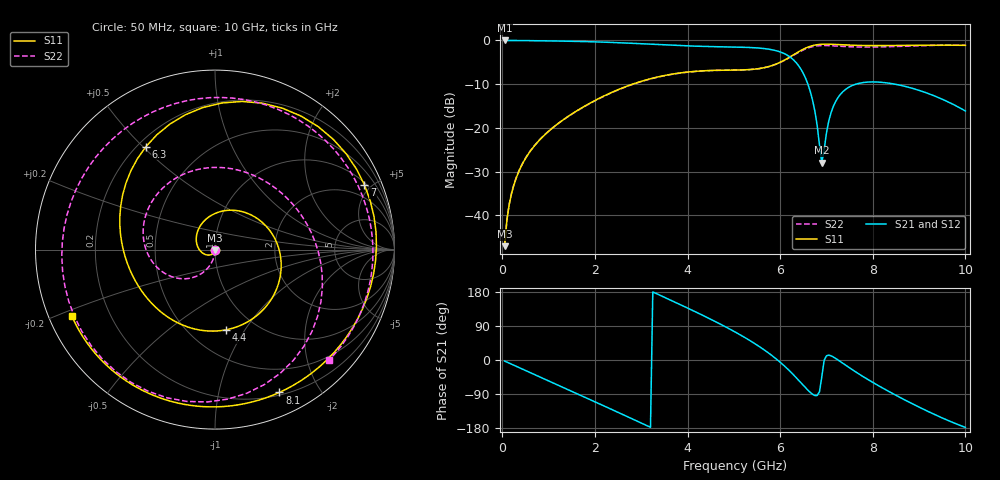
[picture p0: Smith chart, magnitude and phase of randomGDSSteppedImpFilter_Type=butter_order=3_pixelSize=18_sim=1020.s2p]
! freq	dB(S11)	phase(S11)	dB(S12)	phase(S12)
!  dB(S21)	phase(S21)	dB(S22)	phase(S22)
!S-par simulation data
#  GHz  S  DB  R 50
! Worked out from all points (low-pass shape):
!   200 points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, 50 MHz to 10 GHz, reference 50 ohm
!   highest |S21| = 0.00 dB at 50 MHz (marker M1); lowest = -28.0 dB at 6.9 GHz (marker M2)
!   |S21| within 3 dB of the highest: start of sweep to 6.086 GHz
!   lowest |S11| = -47.1 dB at 50 MHz (marker M3), VSWR 1.01, Z = 50 - j0.441 ohm
!   |S11| at or under -10 dB: start of sweep to 2.814 GHz
!   |S22| runs from -47.0 to -1.1 dB; largest |S21 - S12| = 0
!   S11 on the Smith chart (normalised r, x): 50 MHz: 1.00, -0.01; 4.4 GHz: 0.74, -0.83; 6.3 GHz: 0.23, +0.51; 7 GHz: 1.12, +4.57; 8.1 GHz: 0.23, -1.52; 10 GHz: 0.07, -0.22
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0.05  -47.09 -93.7  -0.00 -2.8  -0.00 -2.8  -46.97 -89.9
0.2  -35.04 -108.5  -0.01 -11.0  -0.01 -11.0  -34.93 -93.4
0.45  -27.96 -132.1  -0.03 -24.7  -0.03 -24.7  -27.86 -98.0
1.15  -19.47 162.7  -0.12 -63.1  -0.12 -63.1  -19.46 -110.7
1.75  -15.21 108.8  -0.25 -96.3  -0.25 -96.3  -15.27 -123.2
2.65  -10.63 35.4  -0.58 -146.6  -0.58 -146.6  -10.69 -150.0
3.4  -8.25 -18.2  -0.97 171.2  -0.97 171.2  -8.30 179.9
4.4  -6.92 -82.2  -1.38 113.6  -1.38 113.6  -6.94 129.7
5.05  -6.78 -123.2  -1.51 72.4  -1.51 72.4  -6.78 88.7
5.8  -5.83 -179.7  -2.08 13.9  -2.08 13.9  -5.86 25.8
6.3  -3.21 123.8  -4.56 -40.6  -4.56 -40.6  -3.32 -33.1
6.7  -1.18 64.5  -13.67 -90.5  -13.67 -90.5  -1.41 -92.9
6.9  -0.87 36.1  -27.99 -43.7  -27.99 -43.7  -1.16 -122.2
7  -0.84 23.4  -21.16 11.1  -21.16 11.1  -1.16 -135.7
7.15  -0.89 6.3  -15.05 7.8  -15.05 7.8  -1.23 -154.6
7.45  -1.05 -21.9  -10.92 -16.8  -10.92 -16.8  -1.42 172.0
8.1  -1.18 -65.7  -9.52 -66.2  -9.52 -66.2  -1.49 109.8
8.35  -1.17 -79.2  -9.78 -83.2  -9.78 -83.2  -1.43 87.5
8.75  -1.13 -98.8  -10.65 -109.0  -10.65 -109.0  -1.29 52.9
9.2  -1.09 -119.3  -12.16 -136.1  -12.16 -136.1  -1.15 15.7
9.6  -1.08 -137.0  -13.93 -158.2  -13.93 -158.2  -1.08 -15.3
10  -1.12 -155.0  -16.15 -177.9  -16.15 -177.9  -1.07 -44.2
